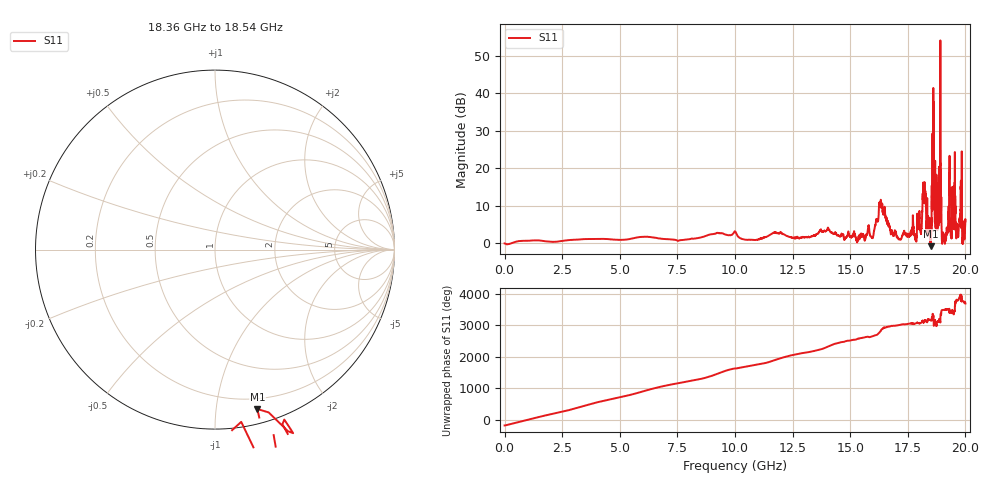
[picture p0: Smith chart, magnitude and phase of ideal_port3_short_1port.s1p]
! Created with skrf 1.8.0 (http://scikit-rf.org).
# GHz S RI R 50.0
!freq ReS11 ImS11
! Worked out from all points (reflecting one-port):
!   10001 points, 1 MHz to 20 GHz, reference 50 ohm
!   lowest |S11| = -0.7 dB at 18.49 GHz (marker M1), VSWR 23.66, Z = 5.67 - j64.7 ohm
!   phase of S11 starts at -180 deg and turns +3873 deg over the sweep
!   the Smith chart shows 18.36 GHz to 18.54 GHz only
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0.001  -1 -0.000251
2.500875  -0.2382 -1.056
5.00075  1.108 -0.1287
5.980701  -1.22 0.0838
7.500625  0.2647 1.058
9.184541  1.352 0.1896
10.0005  -1.436 -0.2026
11.73041  -0.1474 1.393
12.50038  -0.2946 -1.147
13.37233  1.216 0.3391
14.0903  -1.526 0.0414
15.00025  1.221 -0.0498
16.16419  -2.032 0.1037
16.29819  0.3585 -3.184
16.42018  2.545 0.8496
17.50013  -1.258 0.2947
18.21609  -0.302 -4.601
18.48808  0.236 -0.8881
18.67207  0.0671 -2.082
18.72806  -0.553 1.939
18.81206  -1.615 -1.948
18.81406  -1.961 -1.83
18.82206  -1.696 -1.485
19.01405  -0.4458 -1.046
19.01605  -0.3908 -0.9743
19.02605  -0.3902 -1.197
19.75201  1.026 -1.705
20  -0.1066 1.971
